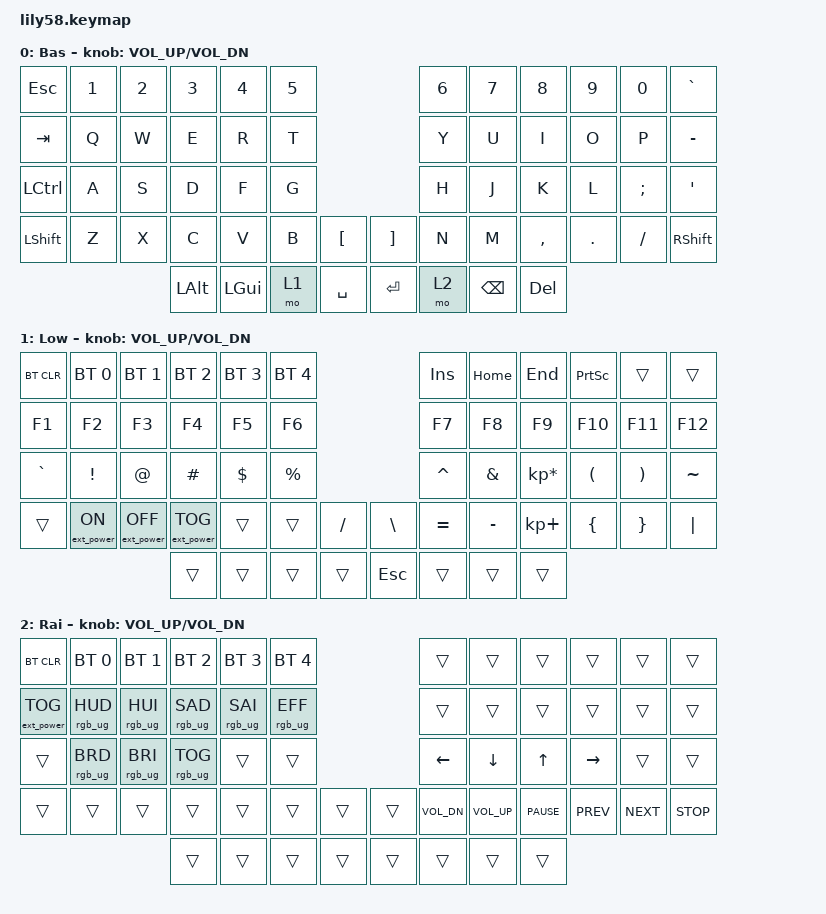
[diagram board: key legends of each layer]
/*
 * Copyright (c) 2020 The ZMK Contributors
 *
 * SPDX-License-Identifier: MIT
 */

#include <behaviors.dtsi>
#include <dt-bindings/zmk/bt.h>
#include <dt-bindings/zmk/ext_power.h>
#include <dt-bindings/zmk/keys.h>
#include <dt-bindings/zmk/rgb.h>

/ {
    keymap {
        compatible = "zmk,keymap";

        default_layer {
            // ------------------------------------------------------------------------------------------------------------
            // |  ESC  |  1  |  2  |  3   |  4   |  5   |                   |  6   |  7    |  8    |  9   |   0   |   `   |
            // |  TAB  |  Q  |  W  |  E   |  R   |  T   |                   |  Y   |  U    |  I    |  O   |   P   |   -   |
            // |  CTRL |  A  |  S  |  D   |  F   |  G   |                   |  H   |  J    |  K    |  L   |   ;   |   '   |
            // | SHIFT |  Z  |  X  |  C   |  V   |  B   |   "["  |  |  "]"  |  N   |  M    |  ,    |  .   |   /   | SHIFT |
            //                     | ALT  | GUI  | LOWER|  SPACE |  | ENTER | RAISE| BSPC  | GUI   |

            display-name = "Bas";
            bindings = <
&kp ESC    &kp N1  &kp N2  &kp N3    &kp N4    &kp N5                         &kp N6  &kp N7    &kp N8     &kp N9   &kp N0    &kp GRAVE
&kp TAB    &kp Q   &kp W   &kp E     &kp R     &kp T                          &kp Y   &kp U     &kp I      &kp O    &kp P     &kp MINUS
&kp LCTRL  &kp A   &kp S   &kp D     &kp F     &kp G                          &kp H   &kp J     &kp K      &kp L    &kp SEMI  &kp SQT
&kp LSHFT  &kp Z   &kp X   &kp C     &kp V     &kp B   &kp LBKT     &kp RBKT  &kp N   &kp M     &kp COMMA  &kp DOT  &kp FSLH  &kp RSHFT
                           &kp LALT  &kp LGUI  &mo 1   &kp SPACE    &kp RET   &mo 2   &kp BSPC  &kp DEL
            >;

            sensor-bindings = <&inc_dec_kp C_VOL_UP C_VOL_DN>;
        };

        lower_layer {
            // ------------------------------------------------------------------------------------------------------------
            // | BTCLR | BT1 | BT2 |  BT3 |  BT4 |  BT5 |                   |      |       |       |      |       |       |
            // |  F1   |  F2 |  F3 |  F4  |  F5  |  F6  |                   |  F7  |  F8   |  F9   |  F10 |  F11  |  F12  |
            // |   `   |  !  |  @  |  #   |  $   |  %   |                   |  ^   |  &    |  *    |  (   |   )   |   ~   |
            // |       |     |     |      |      |      |        |  |       |      |  _    |  +    |  {   |   }   |  "|"  |
            //                     |      |      |      |        |  |       |      |       |       |

            display-name = "Low";
            bindings = <
&bt BT_CLR  &bt BT_SEL 0      &bt BT_SEL 1       &bt BT_SEL 2       &bt BT_SEL 3  &bt BT_SEL 4                              &kp INS    &kp HOME   &kp END          &kp PRINTSCREEN  &trans    &trans
&kp F1      &kp F2            &kp F3             &kp F4             &kp F5        &kp F6                                    &kp F7     &kp F8     &kp F9           &kp F10          &kp F11   &kp F12
&kp GRAVE   &kp EXCL          &kp AT             &kp HASH           &kp DOLLAR    &kp PRCNT                                 &kp CARET  &kp AMPS   &kp KP_MULTIPLY  &kp LPAR         &kp RPAR  &kp TILDE
&trans      &ext_power EP_ON  &ext_power EP_OFF  &ext_power EP_TOG  &trans        &trans        &kp SLASH    &kp BACKSLASH  &kp EQUAL  &kp MINUS  &kp KP_PLUS      &kp LBRC         &kp RBRC  &kp PIPE
                                                 &trans             &trans        &trans        &trans       &kp ESCAPE     &trans     &trans     &trans
            >;

            sensor-bindings = <&inc_dec_kp C_VOL_UP C_VOL_DN>;
        };

        raise_layer {
            // ------------------------------------------------------------------------------------------------------------
            // |       |     |     |      |      |      |                   |      |       |       |      |       |       |
            // |   `   |  1  |  2  |  3   |  4   |  5   |                   |  6   |   7   |   8   |  9   |   0   |       |
            // |   F1  |  F2 |  F3 |  F4  |  F5  |  F6  |                   |      |   <-  |   v   |  ^   |  ->   |       |
            // |   F7  |  F8 |  F9 |  F10 |  F11 |  F12 |        |  |       |  +   |   -   |   =   |  [   |   ]   |   \   |
            //                     |      |      |      |        |  |       |      |       |       |

            display-name = "Rai";
            bindings = <
&bt BT_CLR         &bt BT_SEL 0     &bt BT_SEL 1     &bt BT_SEL 2     &bt BT_SEL 3     &bt BT_SEL 4                       &trans        &trans        &trans       &trans      &trans      &trans
&ext_power EP_TOG  &rgb_ug RGB_HUD  &rgb_ug RGB_HUI  &rgb_ug RGB_SAD  &rgb_ug RGB_SAI  &rgb_ug RGB_EFF                    &trans        &trans        &trans       &trans      &trans      &trans
&trans             &rgb_ug RGB_BRD  &rgb_ug RGB_BRI  &rgb_ug RGB_TOG  &trans           &trans                             &kp LEFT      &kp DOWN      &kp UP       &kp RIGHT   &trans      &trans
&trans             &trans           &trans           &trans           &trans           &trans           &trans    &trans  &kp C_VOL_DN  &kp C_VOL_UP  &kp C_PAUSE  &kp C_PREV  &kp C_NEXT  &kp C_STOP
                                                     &trans           &trans           &trans           &trans    &trans  &trans        &trans        &trans
            >;

            sensor-bindings = <&inc_dec_kp C_VOL_UP C_VOL_DN>;
        };

        extra_1 { status = "reserved"; };

        extra_2 { status = "reserved"; };

        extra_3 { status = "reserved"; };
    };
};
